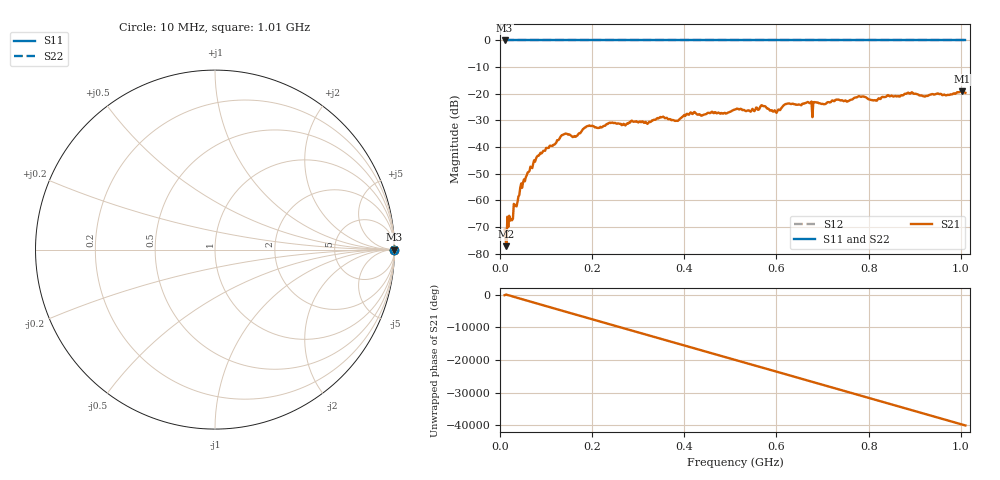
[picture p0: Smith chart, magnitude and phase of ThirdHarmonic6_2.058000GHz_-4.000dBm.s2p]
! 8/17/2025 12:39:44 AM
! C:\ANRITSUVNA\TEMP\TEMP.S2P
! CHANNEL.1
! TR.MEASUREMENT
! RAW.DATA
! RF.CORRECTION.OFF
! AVERAGING.OFF
! IF.BANDWIDTH: 5KHZ
! SWEEPTYPE:  FREQ.SWEEP(Linear)
! Reference Plane Port Info
! PORT:  PORT1  PORT2
! DISTANCE:  0  m  0  m
! TIME:  0  s  0  s
! PHASE.OFFSET:  0  deg.  0  deg.
! LOSS:  0  dB  0  dB
! REF.LOSS:  0  dB  0  dB
! REF.FREQ:  0  Hz  0  Hz
! Power Info
! POWER:  -20  dBm  -20  dBm
! EFF.POWER:  -20  dBm  -20  dBm
! SOURCE.ATTEN:  0  dB  0  dB
! TEST.ATTEN:  0  dB  0  dB
# GHZ S RI R 50.0
! FREQ.GHZ  S11RE  S11IM  S21RE  S21IM  S12RE  S12IM  S22RE  S22IM
!; PortSelection: Port_12
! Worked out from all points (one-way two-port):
!   501 points, 10 MHz to 1.01 GHz, reference 50 ohm
!   highest |S21| = -19.08 dB at 1.002 GHz (marker M1); lowest = -77.2 dB at 14 MHz (marker M2)
!   lowest |S11| = 0.0 dB at 10 MHz (marker M3)
!   |S11| at or under -10 dB: nowhere
!   |S22| runs from 0.0 to 0.0 dB; largest |S21 - S12| = 1.1
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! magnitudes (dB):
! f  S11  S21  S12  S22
! 10 MHz  0.0  -71.1  0.0  0.0
! 14 MHz  0.0  -77.2  0.0  0.0
! 20 MHz  0.0  -65.8  0.0  0.0
! 26 MHz  0.0  -67.5  0.0  0.0
! 48 MHz  0.0  -55.3  0.0  0.0
! 78 MHz  0.0  -44.4  0.0  0.0
! 136 MHz  0.0  -35.5  0.0  0.0
! 162 MHz  0.0  -35.9  0.0  0.0
! 178 MHz  0.0  -33.8  0.0  0.0
! 192 MHz  0.0  -32.1  0.0  0.0
! 322 MHz  0.0  -30.9  0.0  0.0
! 344 MHz  0.0  -29.3  0.0  0.0
! 384 MHz  0.0  -30.2  0.0  0.0
! 418 MHz  0.0  -27.6  0.0  0.0
! 510 MHz  0.0  -25.9  0.0  0.0
! 570 MHz  0.0  -24.5  0.0  0.0
! 596 MHz  0.0  -26.2  0.0  0.0
! 624 MHz  0.0  -23.7  0.0  0.0
! 678 MHz  0.0  -28.8  0.0  0.0
! 844 MHz  0.0  -20.8  0.0  0.0
! 1.002 GHz  0.0  -19.1  0.0  0.0
! 1.01 GHz  0.0  -19.6  0.0  0.0
